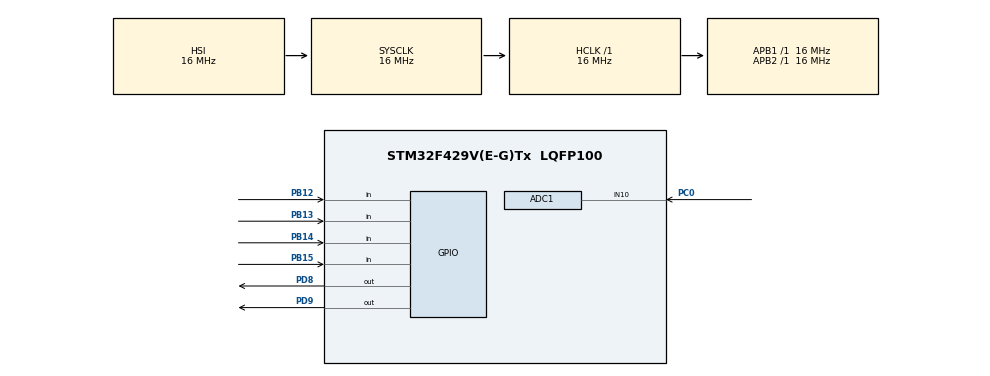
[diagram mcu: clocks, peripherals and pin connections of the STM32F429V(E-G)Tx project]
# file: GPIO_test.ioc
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ADC1.Channel-0\#ChannelRegularConversion=ADC_CHANNEL_10
ADC1.NbrOfConversionFlag=1
ADC1.Rank-0\#ChannelRegularConversion=1
ADC1.SamplingTime-0\#ChannelRegularConversion=ADC_SAMPLETIME_3CYCLES
ADC1.master=1
Mcu.Family=STM32F4
Mcu.Name=STM32F429V(E-G)Tx
Mcu.Package=LQFP100
NVIC.PriorityGroup=NVIC_PRIORITYGROUP_4
PB12.Signal=GPIO_Input
PB13.Signal=GPIO_Input
PB14.Signal=GPIO_Input
PB15.Signal=GPIO_Input
PC0.Signal=ADCx_IN10
PD8.Signal=GPIO_Output
PD9.Signal=GPIO_Output
ProjectManager.HeapSize=0x200
ProjectManager.StackSize=0x400
ProjectManager.TargetToolchain=STM32CubeIDE
RCC.AHBFreq_Value=16000000
RCC.APB1Freq_Value=16000000
RCC.APB2Freq_Value=16000000
RCC.CortexFreq_Value=16000000
RCC.HSE_VALUE=25000000
RCC.HSI_VALUE=16000000
RCC.LSE_VALUE=32768
RCC.SYSCLKFreq_VALUE=16000000
RCC.VCOOutputFreq_Value=192000000
SH.ADCx_IN10.0=ADC1_IN10,IN10
board=custom

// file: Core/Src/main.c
/* USER CODE BEGIN Header */
/**
  ******************************************************************************
  * @file           : main.c
  * @brief          : Non-Blocking State Machine for Buttons + ADC Filter
  ******************************************************************************
  */
/* USER CODE END Header */

#include "main.h"

ADC_HandleTypeDef hadc1;

/* USER CODE BEGIN PV */
/* Button State Variables */
uint8_t btn_up = 0, btn_down = 0, btn_left = 0, btn_right = 0;
uint8_t btn_y = 0, btn_a = 0, btn_x = 0, btn_b = 0;

/* Battery Variables */
float battery_voltage = 0.0f;
uint8_t battery_percentage = 0;

/* State Machine Definitions */
typedef enum {
  BTN_STATE_IDLE,
  BTN_STATE_SET_BANK1,
  BTN_STATE_WAIT_BANK1,
  BTN_STATE_READ_BANK1,
  BTN_STATE_INTER_DELAY_1,
  BTN_STATE_SET_BANK2,
  BTN_STATE_WAIT_BANK2,
  BTN_STATE_READ_BANK2,
  BTN_STATE_INTER_DELAY_2
} ButtonState_t;

ButtonState_t current_btn_state = BTN_STATE_IDLE;
uint32_t btn_timer = 0;

/* Timing Constants (Adjust based on 0.1uF Capacitor behavior) */
#define CAP_CHARGE_MS      15  // Time for 0.1uF to charge/discharge (3x - 4x RC)
#define BANK_SWITCH_MS     2   // Safety delay between banks floating high
/* USER CODE END PV */

void SystemClock_Config(void);
static void MX_GPIO_Init(void);
static void MX_ADC1_Init(void);
void Poll_Buttons_NonBlocking(void);
void Poll_Battery_Filtered(void);

int main(void)
{
  HAL_Init();
  SystemClock_Config();
  MX_GPIO_Init();
  MX_ADC1_Init();

  while (1)
  {

    /* USER CODE BEGIN 3 */
    // This function checks time and returns immediately - NO BLOCKING
    Poll_Buttons_NonBlocking();

    // Check battery occasionally
    Poll_Battery_Filtered();

    // INSERT GAME LOGIC / DISPLAY UPDATE HERE
    // The CPU is now free to run graphics code while waiting for caps to charge.
  }
  /* USER CODE END 3 */
}

/* USER CODE BEGIN 4 */

/**
  * @brief Non-Blocking State Machine to handle Multiplexed Buttons with Large Caps
  */
void Poll_Buttons_NonBlocking(void)
{
    uint32_t current_time = HAL_GetTick();

    switch (current_btn_state)
    {
        case BTN_STATE_IDLE:
        case BTN_STATE_SET_BANK1:
            // Float Bank 2 (Inactive)
            HAL_GPIO_WritePin(GPIOD, GPIO_PIN_9, GPIO_PIN_SET);
            // Drive Bank 1 Low (Active)
            HAL_GPIO_WritePin(GPIOD, GPIO_PIN_8, GPIO_PIN_RESET);

            btn_timer = current_time;
            current_btn_state = BTN_STATE_WAIT_BANK1;
            break;

        case BTN_STATE_WAIT_BANK1:
            // Wait for 0.1uF caps to discharge/charge
            if ((current_time - btn_timer) >= CAP_CHARGE_MS) {
                current_btn_state = BTN_STATE_READ_BANK1;
            }
            break;

        case BTN_STATE_READ_BANK1:
            // Read Inputs (Active Low)
            // Using simple assignment here; strictly, you could add hysteresis
            btn_up    = (HAL_GPIO_ReadPin(GPIOB, GPIO_PIN_12) == GPIO_PIN_RESET);
            btn_down  = (HAL_GPIO_ReadPin(GPIOB, GPIO_PIN_13) == GPIO_PIN_RESET);
            btn_left  = (HAL_GPIO_ReadPin(GPIOB, GPIO_PIN_14) == GPIO_PIN_RESET);
            btn_right = (HAL_GPIO_ReadPin(GPIOB, GPIO_PIN_15) == GPIO_PIN_RESET);

            // Disable Bank 1 (Float High)
            HAL_GPIO_WritePin(GPIOD, GPIO_PIN_8, GPIO_PIN_SET);

            btn_timer = current_time;
            current_btn_state = BTN_STATE_INTER_DELAY_1;
            break;

        case BTN_STATE_INTER_DELAY_1:
            // SAFETY DELAY: Allow lines to float up before activating Bank 2
            if ((current_time - btn_timer) >= BANK_SWITCH_MS) {
                current_btn_state = BTN_STATE_SET_BANK2;
            }
            break;

        case BTN_STATE_SET_BANK2:
            // Float Bank 1 (Already done, but ensure)
            HAL_GPIO_WritePin(GPIOD, GPIO_PIN_8, GPIO_PIN_SET);
            // Drive Bank 2 Low (Active)
            HAL_GPIO_WritePin(GPIOD, GPIO_PIN_9, GPIO_PIN_RESET);

            btn_timer = current_time;
            current_btn_state = BTN_STATE_WAIT_BANK2;
            break;

        case BTN_STATE_WAIT_BANK2:
            if ((current_time - btn_timer) >= CAP_CHARGE_MS) {
                current_btn_state = BTN_STATE_READ_BANK2;
            }
            break;

        case BTN_STATE_READ_BANK2:
            btn_y = (HAL_GPIO_ReadPin(GPIOB, GPIO_PIN_12) == GPIO_PIN_RESET);
            btn_a = (HAL_GPIO_ReadPin(GPIOB, GPIO_PIN_13) == GPIO_PIN_RESET);
            btn_x = (HAL_GPIO_ReadPin(GPIOB, GPIO_PIN_14) == GPIO_PIN_RESET);
            btn_b = (HAL_GPIO_ReadPin(GPIOB, GPIO_PIN_15) == GPIO_PIN_RESET);

            // Disable Bank 2 (Float High)
            HAL_GPIO_WritePin(GPIOD, GPIO_PIN_9, GPIO_PIN_SET);

            btn_timer = current_time;
            current_btn_state = BTN_STATE_INTER_DELAY_2;
            break;

        case BTN_STATE_INTER_DELAY_2:
            // Loop back to start
            if ((current_time - btn_timer) >= BANK_SWITCH_MS) {
                current_btn_state = BTN_STATE_SET_BANK1;
            }
            break;
    }
}

/**
  * @brief Reads Battery ADC and applies Low Pass Filter
  */
void Poll_Battery_Filtered(void)
{
    static uint32_t last_bat_check = 0;

    // Only check battery every 500ms (It doesn't change fast)
    if ((HAL_GetTick() - last_bat_check) < 500) return;
    last_bat_check = HAL_GetTick();

    HAL_ADC_Start(&hadc1);
    if (HAL_ADC_PollForConversion(&hadc1, 10) == HAL_OK)
    {
        uint32_t adc_val = HAL_ADC_GetValue(&hadc1);

        // Raw Voltage Calculation
        // Divider R2(33k) / R3(100k) -> Multiplier 1.33
        float new_voltage = ((float)adc_val * (3.3f / 4095.0f)) * 1.33f;

        // IIR Filter (Low Pass): 90% Old value, 10% New value
        // This removes jitter from the ADC reading
        if (battery_voltage == 0.0f) {
            battery_voltage = new_voltage; // Initialize instantly on first run
        } else {
            battery_voltage = (0.9f * battery_voltage) + (0.1f * new_voltage);
        }

        // Update Percentage
        if (battery_voltage >= 4.2f) battery_percentage = 100;
        else if (battery_voltage <= 3.0f) battery_percentage = 0;
        else {
            battery_percentage = (uint8_t)((battery_voltage - 3.0f) / 1.2f * 100.0f);
        }
    }
    HAL_ADC_Stop(&hadc1);
}

static void MX_ADC1_Init(void)
{
  ADC_ChannelConfTypeDef sConfig = {0};

  hadc1.Instance = ADC1;
  hadc1.Init.ClockPrescaler = ADC_CLOCK_SYNC_PCLK_DIV2;
  hadc1.Init.Resolution = ADC_RESOLUTION_12B;
  hadc1.Init.ScanConvMode = DISABLE;
  hadc1.Init.ContinuousConvMode = DISABLE;
  hadc1.Init.DiscontinuousConvMode = DISABLE;
  hadc1.Init.ExternalTrigConvEdge = ADC_EXTERNALTRIGCONVEDGE_NONE;
  hadc1.Init.ExternalTrigConv = ADC_SOFTWARE_START;
  hadc1.Init.DataAlign = ADC_DATAALIGN_RIGHT;
  hadc1.Init.NbrOfConversion = 1;
  hadc1.Init.DMAContinuousRequests = DISABLE;
  hadc1.Init.EOCSelection = ADC_EOC_SINGLE_CONV;
  if (HAL_ADC_Init(&hadc1) != HAL_OK) Error_Handler();

  /* Configure Channel 10 (PC0) */
  sConfig.Channel = ADC_CHANNEL_10;
  sConfig.Rank = 1;
  /* Reduced Sample Time as requested - 144 Cycles is plenty for 100k impedance source */
  sConfig.SamplingTime = ADC_SAMPLETIME_144CYCLES;
  if (HAL_ADC_ConfigChannel(&hadc1, &sConfig) != HAL_OK) Error_Handler();
}

static void MX_GPIO_Init(void)
{
  GPIO_InitTypeDef GPIO_InitStruct = {0};

  __HAL_RCC_GPIOC_CLK_ENABLE();
  __HAL_RCC_GPIOB_CLK_ENABLE();
  __HAL_RCC_GPIOD_CLK_ENABLE();

  /* Select Lines: Open Drain + High Initial State */
  HAL_GPIO_WritePin(GPIOD, GPIO_PIN_8|GPIO_PIN_9, GPIO_PIN_SET);

  /* Button Inputs: Pull-Up is REQUIRED for Open Drain logic */
  GPIO_InitStruct.Pin = GPIO_PIN_12|GPIO_PIN_13|GPIO_PIN_14|GPIO_PIN_15;
  GPIO_InitStruct.Mode = GPIO_MODE_INPUT;
  GPIO_InitStruct.Pull = GPIO_PULLUP;
  HAL_GPIO_Init(GPIOB, &GPIO_InitStruct);

  /* Select Lines: Open Drain to prevent short circuits */
  GPIO_InitStruct.Pin = GPIO_PIN_8|GPIO_PIN_9;
  GPIO_InitStruct.Mode = GPIO_MODE_OUTPUT_OD;
  GPIO_InitStruct.Pull = GPIO_NOPULL;
  GPIO_InitStruct.Speed = GPIO_SPEED_FREQ_LOW;
  HAL_GPIO_Init(GPIOD, &GPIO_InitStruct);

  /* Battery ADC Pin */
  GPIO_InitStruct.Pin = GPIO_PIN_0;
  GPIO_InitStruct.Mode = GPIO_MODE_ANALOG;
  GPIO_InitStruct.Pull = GPIO_NOPULL;
  HAL_GPIO_Init(GPIOC, &GPIO_InitStruct);
}
/* USER CODE END 4 */

void SystemClock_Config(void)
{
  RCC_OscInitTypeDef RCC_OscInitStruct = {0};
  RCC_ClkInitTypeDef RCC_ClkInitStruct = {0};

  /** Configure the main internal regulator output voltage
  */
  __HAL_RCC_PWR_CLK_ENABLE();
  __HAL_PWR_VOLTAGESCALING_CONFIG(PWR_REGULATOR_VOLTAGE_SCALE3);

  /** Initializes the RCC Oscillators according to the specified parameters
  * in the RCC_OscInitTypeDef structure.
  */
  RCC_OscInitStruct.OscillatorType = RCC_OSCILLATORTYPE_HSI;
  RCC_OscInitStruct.HSIState = RCC_HSI_ON;
  RCC_OscInitStruct.HSICalibrationValue = RCC_HSICALIBRATION_DEFAULT;
  RCC_OscInitStruct.PLL.PLLState = RCC_PLL_NONE;
  if (HAL_RCC_OscConfig(&RCC_OscInitStruct) != HAL_OK)
  {
    Error_Handler();
  }

  /** Initializes the CPU, AHB and APB buses clocks
  */
  RCC_ClkInitStruct.ClockType = RCC_CLOCKTYPE_HCLK|RCC_CLOCKTYPE_SYSCLK
                              |RCC_CLOCKTYPE_PCLK1|RCC_CLOCKTYPE_PCLK2;
  RCC_ClkInitStruct.SYSCLKSource = RCC_SYSCLKSOURCE_HSI;
  RCC_ClkInitStruct.AHBCLKDivider = RCC_SYSCLK_DIV1;
  RCC_ClkInitStruct.APB1CLKDivider = RCC_HCLK_DIV1;
  RCC_ClkInitStruct.APB2CLKDivider = RCC_HCLK_DIV1;

  if (HAL_RCC_ClockConfig(&RCC_ClkInitStruct, FLASH_LATENCY_0) != HAL_OK)
  {
    Error_Handler();
  }
}

void Error_Handler(void)
{
  __disable_irq();
  while (1)
  {
  }
}
